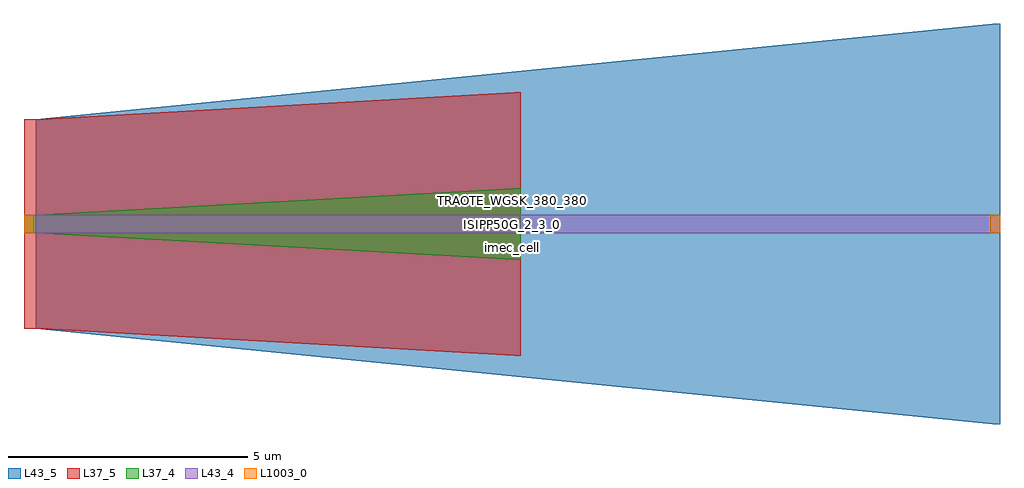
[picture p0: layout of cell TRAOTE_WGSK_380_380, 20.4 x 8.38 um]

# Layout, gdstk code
import gdstk
lib = gdstk.Library(unit=1e-6, precision=1e-09)
def R(c, l, rs):  # rectangles x0, y0, x1, y1
    for r in rs: c.add(gdstk.rectangle(r[:2], r[2:], *l))
def P(c, l, *ps):  # polygons
    for p in ps: c.add(gdstk.Polygon(p, *l))
L37_4 = (37, 4)
L37_5 = (37, 5)
L43_4 = (43, 4)
L43_5 = (43, 5)
L1003_0 = (1003, 0)

traote_wgsk_380_380_1 = lib.new_cell('TRAOTE_WGSK_380_380_1')
R(traote_wgsk_380_380_1, L37_4, [(0,-0.19,0.1,0.19)])
R(traote_wgsk_380_380_1, L37_5, [(0,-2.19,0.1,2.19)])

traote_wgsk_380_380 = lib.new_cell('TRAOTE_WGSK_380_380')
R(traote_wgsk_380_380, L37_4, [(-0.15,-0.19,0,0.19)])
P(traote_wgsk_380_380, L37_4, [(10.1,-0.75),(0.1,-0.19),(0.1,0.19),(10.1,0.75),(10.23,0.75),(10.23,-0.75)])
R(traote_wgsk_380_380, L37_5, [(-0.15,-2.19,0,2.19)])
P(traote_wgsk_380_380, L37_5, [(10.1,-2.75),(0.1,-2.19),(0.1,2.19),(10.1,2.75),(10.23,2.75),(10.23,-2.75)])
R(traote_wgsk_380_380, L43_4, [(0.1,-0.19,20.1,0.19), (20.1,-0.19,20.25,0.19)])
R(traote_wgsk_380_380, L43_5, [(20.1,-4.19,20.25,4.19)])
P(traote_wgsk_380_380, L43_5, [(20.1,-4.19),(0.1,-2.19),(0.1,2.19),(20.1,4.19)])
R(traote_wgsk_380_380, L1003_0, [(-0.15,-0.19,0,0.19), (0,-0.19,0.05,0.19), (20.05,-0.19,20.1,0.19), (20.1,-0.19,20.25,0.19)])
traote_wgsk_380_380.add(gdstk.Reference(traote_wgsk_380_380_1, (0,0)))
traote_wgsk_380_380.add(gdstk.Label('TRAOTE_WGSK_380_380', (10.05,0.5), layer=1002, texttype=0))
traote_wgsk_380_380.add(gdstk.Label('ISIPP50G_2_3_0', (10.05,0), layer=1002, texttype=0))
traote_wgsk_380_380.add(gdstk.Label('imec_cell', (10.05,-0.5), layer=1002, texttype=0))

lib.write_gds('TRAOTE_WGSK_380_380.gds')
